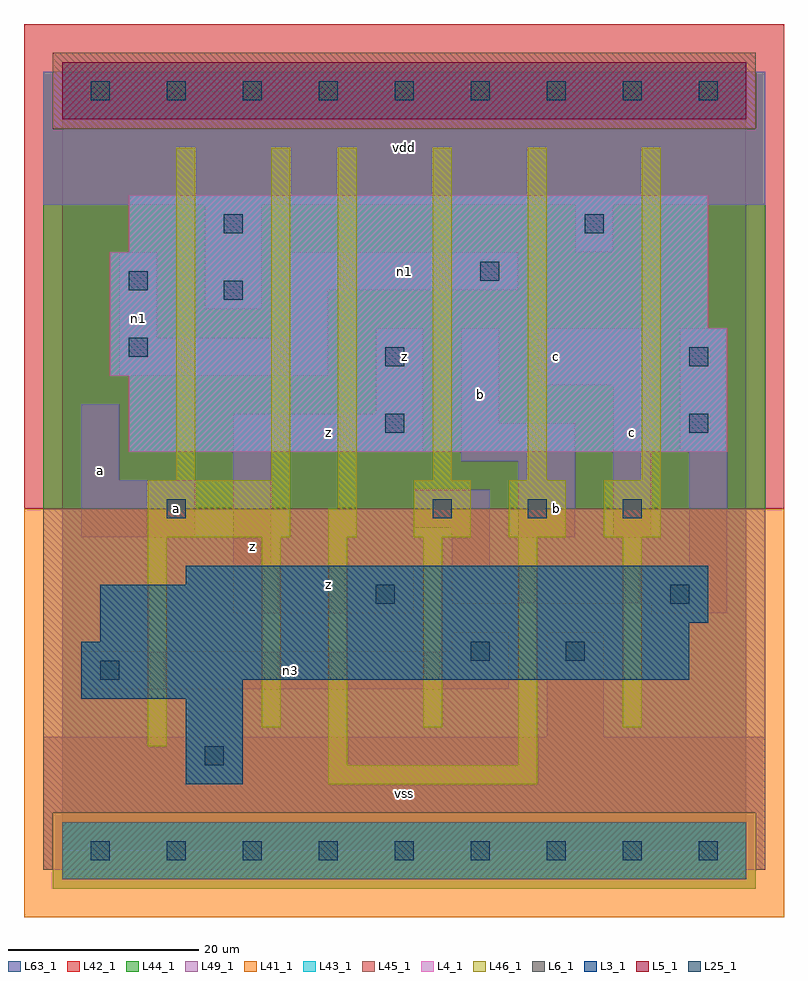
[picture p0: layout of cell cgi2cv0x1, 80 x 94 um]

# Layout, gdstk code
import gdstk
lib = gdstk.Library(unit=1e-6, precision=1e-09)
def R(c, l, rs):  # rectangles x0, y0, x1, y1
    for r in rs: c.add(gdstk.rectangle(r[:2], r[2:], *l))
def A(c, l, x, y, w, h, nx, ny, dx, dy):  # array of equal rectangles
    R(c, l, [(x+i*dx, y+j*dy, x+i*dx+w, y+j*dy+h) for i in range(nx) for j in range(ny)])
L3_1 = (3, 1)
L4_1 = (4, 1)
L5_1 = (5, 1)
L6_1 = (6, 1)
L25_1 = (25, 1)
L41_1 = (41, 1)
L42_1 = (42, 1)
L43_1 = (43, 1)
L44_1 = (44, 1)
L45_1 = (45, 1)
L46_1 = (46, 1)
L49_1 = (49, 1)
L63_1 = (63, 1)

cgi2cv0x1 = lib.new_cell('cgi2cv0x1')
R(cgi2cv0x1, L3_1, [(13,7,19,16), (2,16,19,18), (2,18,66,22), (4,22,66,24), (4,24,68,28), (13,28,68,30)])
R(cgi2cv0x1, L4_1, [(7,42,70,50), (5,50,70,55), (5,55,68,63), (7,63,68,69)])
R(cgi2cv0x1, L5_1, [(0,77,72,83)])
R(cgi2cv0x1, L6_1, [(0,-3,72,3), (0,-3,72,3)])
A(cgi2cv0x1, L25_1, 3, -1, 2, 2, 9, 2, 8, 80)
A(cgi2cv0x1, L25_1, 39, 35, 2, 2, 3, 1, 10, 0)
R(cgi2cv0x1, L25_1, [(15,9,17,11), (4,18,6,20), (43,20,45,22), (53,20,55,22), (33,26,35,28), (64,26,66,28), (11,35,13,37), (34,44,36,46), (66,44,68,46), (34,51,36,53), (66,51,68,53), (7,52,9,54), (17,58,19,60), (7,59,9,61), (44,60,46,62), (17,65,19,67), (55,65,57,67)])
R(cgi2cv0x1, L41_1, [(-4,-7,76,36)])
R(cgi2cv0x1, L42_1, [(-4,36,76,87)])
R(cgi2cv0x1, L43_1, [(0,-3,72,3), (13,7,19,16), (2,16,19,18), (2,18,66,22), (4,22,66,24), (4,24,68,28), (13,28,68,30), (7,42,70,50), (5,50,70,55), (5,55,68,63), (7,63,68,69), (0,77,72,83)])
R(cgi2cv0x1, L44_1, [(-1,-4,73,4), (-2,36,74,76), (-2,76,-1,82), (73,76,74,82)])
R(cgi2cv0x1, L45_1, [(-2,-2,-1,4), (73,-2,74,4), (-2,4,74,36), (-1,76,73,84)])
A(cgi2cv0x1, L46_1, 37, 33, 6, 6, 3, 1, 10, 0)
R(cgi2cv0x1, L46_1, [(28,7,50,9), (28,9,30,33), (48,9,50,33), (9,11,11,33), (21,13,23,33), (38,13,40,33), (59,13,61,33), (9,33,24,39), (28,33,31,36), (29,36,31,74), (12,39,14,74), (22,39,24,74), (39,39,41,74), (49,39,51,74), (61,39,63,74)])
R(cgi2cv0x1, L49_1, [(-2,-2,74,12), (51,12,57,23), (2,17,47,21), (41,21,47,23), (18,25,37,30), (62,25,70,26), (41,26,70,30), (18,30,22,42), (41,30,45,34), (66,30,70,42), (2,33,14,39), (48,33,54,41), (58,33,62,49), (37,34,45,38), (2,39,6,47), (42,41,54,45), (18,42,38,46), (65,42,70,55), (42,45,46,55), (33,46,38,55), (50,49,62,55), (6,50,28,54), (6,54,10,63), (24,54,28,59), (15,57,21,68), (24,59,48,63), (54,63,58,68), (-2,68,74,82)])
R(cgi2cv0x1, L63_1, [(0,0,72,80)])
cgi2cv0x1.add(gdstk.Label('a', (4,40), layer=49, texttype=1))
cgi2cv0x1.add(gdstk.Label('n1', (8,56), layer=49, texttype=1))
cgi2cv0x1.add(gdstk.Label('z', (20,32), layer=49, texttype=1))
cgi2cv0x1.add(gdstk.Label('a', (12,36), layer=49, texttype=1))
cgi2cv0x1.add(gdstk.Label('vss', (36,6), layer=49, texttype=1))
cgi2cv0x1.add(gdstk.Label('z', (28,28), layer=49, texttype=1))
cgi2cv0x1.add(gdstk.Label('z', (28,44), layer=49, texttype=1))
cgi2cv0x1.add(gdstk.Label('z', (36,52), layer=49, texttype=1))
cgi2cv0x1.add(gdstk.Label('vdd', (36,74), layer=49, texttype=1))
cgi2cv0x1.add(gdstk.Label('n3', (24,19), layer=49, texttype=1))
cgi2cv0x1.add(gdstk.Label('b', (52,36), layer=49, texttype=1))
cgi2cv0x1.add(gdstk.Label('c', (52,52), layer=49, texttype=1))
cgi2cv0x1.add(gdstk.Label('b', (44,48), layer=49, texttype=1))
cgi2cv0x1.add(gdstk.Label('n1', (36,61), layer=49, texttype=1))
cgi2cv0x1.add(gdstk.Label('c', (60,44), layer=49, texttype=1))

lib.write_gds('cgi2cv0x1.gds')
